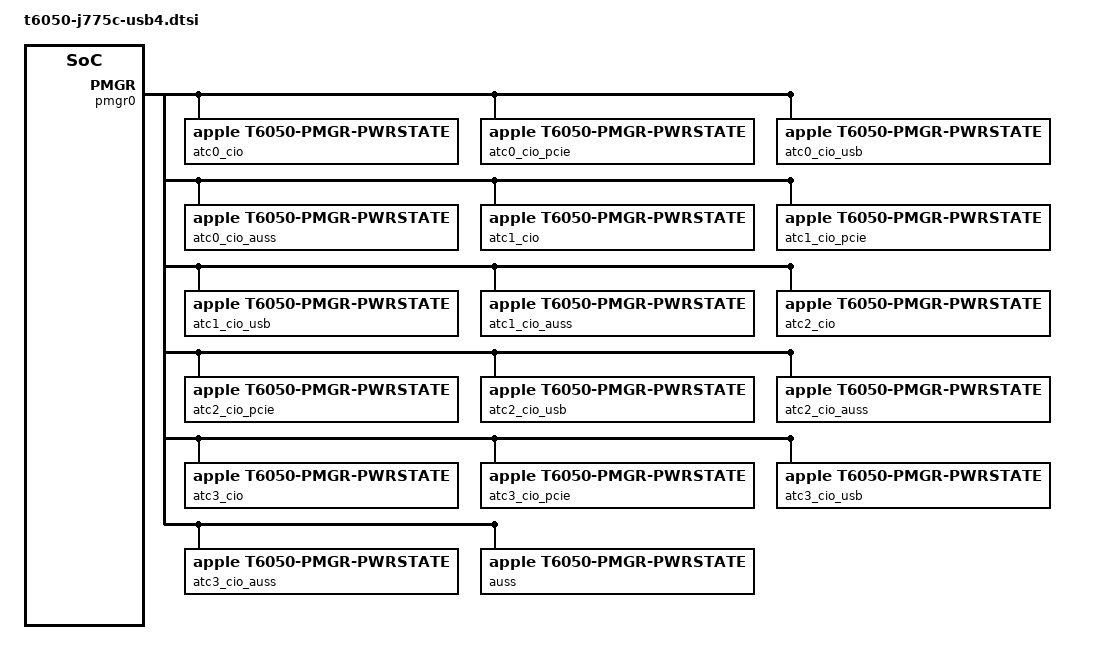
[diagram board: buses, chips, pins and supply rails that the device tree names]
/* J775c rear USB4 routers. Per-controller resources and tunables from J775c ADT. */


&{/aliases} {
	usb4-0-acio = &acio0;
	usb4-0-nhi = &acio0_nhi;
	usb4-1-acio = &acio1;
	usb4-1-nhi = &acio1_nhi;
	usb4-2-acio = &acio2;
	usb4-2-nhi = &acio2_nhi;
	usb4-3-acio = &acio3;
	usb4-3-nhi = &acio3_nhi;
};


&pmgr0 {

	ps_atc0_cio: power-controller@280 {
		compatible = "apple,t6050-pmgr-pwrstate", "apple,t8103-pmgr-pwrstate";
		reg = <0x280 4>;
		label = "atc0_cio";
		#power-domain-cells = <0>;
		#reset-cells = <0>;
		power-domains = <&ps_atc0_common>;
	};

	ps_atc0_cio_pcie: power-controller@338 {
		compatible = "apple,t6050-pmgr-pwrstate", "apple,t8103-pmgr-pwrstate";
		reg = <0x338 4>;
		label = "atc0_cio_pcie";
		#power-domain-cells = <0>;
		#reset-cells = <0>;
		power-domains = <&ps_atc0_cio>;
	};

	ps_atc0_cio_usb: power-controller@340 {
		compatible = "apple,t6050-pmgr-pwrstate", "apple,t8103-pmgr-pwrstate";
		reg = <0x340 4>;
		label = "atc0_cio_usb";
		#power-domain-cells = <0>;
		#reset-cells = <0>;
		power-domains = <&ps_atc0_cio>;
	};

	ps_atc0_cio_auss: power-controller@348 {
		compatible = "apple,t6050-pmgr-pwrstate", "apple,t8103-pmgr-pwrstate";
		reg = <0x348 4>;
		label = "atc0_cio_auss";
		#power-domain-cells = <0>;
		#reset-cells = <0>;
		power-domains = <&ps_atc0_cio>, <&ps_auss>;
	};

	ps_atc1_cio: power-controller@290 {
		compatible = "apple,t6050-pmgr-pwrstate", "apple,t8103-pmgr-pwrstate";
		reg = <0x290 4>;
		label = "atc1_cio";
		#power-domain-cells = <0>;
		#reset-cells = <0>;
		power-domains = <&ps_atc1_common>;
	};

	ps_atc1_cio_pcie: power-controller@350 {
		compatible = "apple,t6050-pmgr-pwrstate", "apple,t8103-pmgr-pwrstate";
		reg = <0x350 4>;
		label = "atc1_cio_pcie";
		#power-domain-cells = <0>;
		#reset-cells = <0>;
		power-domains = <&ps_atc1_cio>;
	};

	ps_atc1_cio_usb: power-controller@358 {
		compatible = "apple,t6050-pmgr-pwrstate", "apple,t8103-pmgr-pwrstate";
		reg = <0x358 4>;
		label = "atc1_cio_usb";
		#power-domain-cells = <0>;
		#reset-cells = <0>;
		power-domains = <&ps_atc1_cio>;
	};

	ps_atc1_cio_auss: power-controller@360 {
		compatible = "apple,t6050-pmgr-pwrstate", "apple,t8103-pmgr-pwrstate";
		reg = <0x360 4>;
		label = "atc1_cio_auss";
		#power-domain-cells = <0>;
		#reset-cells = <0>;
		power-domains = <&ps_atc1_cio>, <&ps_auss>;
	};

	ps_atc2_cio: power-controller@2e8 {
		compatible = "apple,t6050-pmgr-pwrstate", "apple,t8103-pmgr-pwrstate";
		reg = <0x2e8 4>;
		label = "atc2_cio";
		#power-domain-cells = <0>;
		#reset-cells = <0>;
		power-domains = <&ps_atc2_common>;
	};

	ps_atc2_cio_pcie: power-controller@3f8 {
		compatible = "apple,t6050-pmgr-pwrstate", "apple,t8103-pmgr-pwrstate";
		reg = <0x3f8 4>;
		label = "atc2_cio_pcie";
		#power-domain-cells = <0>;
		#reset-cells = <0>;
		power-domains = <&ps_atc2_cio>;
	};

	ps_atc2_cio_usb: power-controller@400 {
		compatible = "apple,t6050-pmgr-pwrstate", "apple,t8103-pmgr-pwrstate";
		reg = <0x400 4>;
		label = "atc2_cio_usb";
		#power-domain-cells = <0>;
		#reset-cells = <0>;
		power-domains = <&ps_atc2_cio>;
	};

	ps_atc2_cio_auss: power-controller@408 {
		compatible = "apple,t6050-pmgr-pwrstate", "apple,t8103-pmgr-pwrstate";
		reg = <0x408 4>;
		label = "atc2_cio_auss";
		#power-domain-cells = <0>;
		#reset-cells = <0>;
		power-domains = <&ps_atc2_cio>, <&ps_auss>;
	};

	ps_atc3_cio: power-controller@2f8 {
		compatible = "apple,t6050-pmgr-pwrstate", "apple,t8103-pmgr-pwrstate";
		reg = <0x2f8 4>;
		label = "atc3_cio";
		#power-domain-cells = <0>;
		#reset-cells = <0>;
		power-domains = <&ps_atc3_common>;
	};

	ps_atc3_cio_pcie: power-controller@410 {
		compatible = "apple,t6050-pmgr-pwrstate", "apple,t8103-pmgr-pwrstate";
		reg = <0x410 4>;
		label = "atc3_cio_pcie";
		#power-domain-cells = <0>;
		#reset-cells = <0>;
		power-domains = <&ps_atc3_cio>;
	};

	ps_atc3_cio_usb: power-controller@418 {
		compatible = "apple,t6050-pmgr-pwrstate", "apple,t8103-pmgr-pwrstate";
		reg = <0x418 4>;
		label = "atc3_cio_usb";
		#power-domain-cells = <0>;
		#reset-cells = <0>;
		power-domains = <&ps_atc3_cio>;
	};

	ps_atc3_cio_auss: power-controller@420 {
		compatible = "apple,t6050-pmgr-pwrstate", "apple,t8103-pmgr-pwrstate";
		reg = <0x420 4>;
		label = "atc3_cio_auss";
		#power-domain-cells = <0>;
		#reset-cells = <0>;
		power-domains = <&ps_atc3_cio>, <&ps_auss>;
	};

	ps_auss: power-controller@248 {
		compatible = "apple,t6050-pmgr-pwrstate", "apple,t8103-pmgr-pwrstate";
		reg = <0x248 4>;
		label = "auss";
		#power-domain-cells = <0>;
		#reset-cells = <0>;
		apple,always-on;
	};
};


&atc0_phy {
	apple,tunable-lane0-rx-top-cio = <0x35c 0xe00 0x200>;
	apple,tunable-lane1-rx-top-cio = <0x35c 0xe00 0x200>;
};


&atc1_phy {
	apple,tunable-lane0-rx-top-cio = <0x35c 0xe00 0x200>;
	apple,tunable-lane1-rx-top-cio = <0x35c 0xe00 0x200>;
};


&atc2_phy {
	apple,tunable-lane0-rx-top-cio = <0x35c 0xe00 0x200>;
	apple,tunable-lane1-rx-top-cio = <0x35c 0xe00 0x200>;
};


&atc3_phy {
	apple,tunable-lane0-rx-top-cio = <0x35c 0xe00 0x200>;
	apple,tunable-lane1-rx-top-cio = <0x35c 0xe00 0x200>;
};


&pinctrl_aop {
	/* Keep HDMI GPIO 14 available, and reserve every pin except CIO LSTX 77/79/81/83. */
	gpio-reserved-ranges = <0 14>, <15 62>, <78 1>, <80 1>, <82 1>, <84 1>;
	status = "okay";



	acio2_lstx_pins: acio2-lstx-pins {
		pinmux = <0x10051>;
	};


};


&hpm0 {
	connector {
		ports {
			port@3 {
				reg = <3>;
				hpm0_usb4: endpoint {
					remote-endpoint = <&acio0_tbt>;
				};
			};
		};
	};
};


&hpm1 {
	connector {
		ports {
			port@3 {
				reg = <3>;
				hpm1_usb4: endpoint {
					remote-endpoint = <&acio1_tbt>;
				};
			};
		};
	};
};


&hpm2 {
	connector {
		ports {
			port@3 {
				reg = <3>;
				hpm2_usb4: endpoint {
					remote-endpoint = <&acio2_tbt>;
				};
			};
		};
	};
};


&hpm3 {
	connector {
		ports {
			port@3 {
				reg = <3>;
				hpm3_usb4: endpoint {
					remote-endpoint = <&acio3_tbt>;
				};
			};
		};
	};
};


&{/soc@200000000} {
	cio_reconfig0: cio_reset: reset-controller@280620000 {
		compatible = "apple,t6050-cio-reset";
		reg = <0x2 0x80620000 0x0 0x4000>;
		#reset-cells = <1>;
	};





	acio2_mbox: mailbox@381108000 {
		compatible = "apple,t6050-asc-mailbox", "apple,asc-mailbox-v4";
		reg = <0x3 0x81108000 0x0 0x4000>;
		interrupts = <AIC_IRQ 0 857 IRQ_TYPE_LEVEL_HIGH>,
			     <AIC_IRQ 0 858 IRQ_TYPE_LEVEL_HIGH>,
			     <AIC_IRQ 0 859 IRQ_TYPE_LEVEL_HIGH>,
			     <AIC_IRQ 0 860 IRQ_TYPE_LEVEL_HIGH>;
		interrupt-names = "send-empty", "send-not-empty",
				  "recv-empty", "recv-not-empty";
		#mbox-cells = <0>;
	};

	acio2: acio@381ac0000 {
		compatible = "apple,t6050-usb4-acio";
		reg = <0x3 0x81ac0000 0x0 0xc000>,
		      <0x3 0x81080000 0x0 0x26000>,
		      <0x3 0x81e44000 0x0 0x4000>,
		      <0x3 0x81100000 0x0 0x4000>,
		      <0x3 0x81c80000 0x0 0x4000>;
		reg-names = "rc", "sram", "pcie-adapter", "cpu", "router-ap-fw";
		mboxes = <&acio2_mbox>;
		resets = <&cio_reset 2>;
		power-domains = <&ps_atc2_cio>, <&ps_atc2_cio_pcie>,
				<&ps_atc2_cio_usb>, <&ps_atc2_cio_auss>;
		thunderbolt-switch;
		pinctrl-0 = <&acio2_lstx_pins>;
		pinctrl-names = "lstx";
		lstx-gpios = <&pinctrl_aop 81 GPIO_ACTIVE_HIGH>;

		/* Stage 2 supplies apple,tunable-rc from this controller's ADT. */
		apple,tunable-pcie-adapter = <0x1008 0x6 0x6>;
		apple,tunable-router-ap-fw = <0x8 0xff2 0x482>;

		#address-cells = <1>;
		#size-cells = <1>;
		ranges = <0x0 0x3 0x81000000 0x1000000>;
		nonposted-mmio;


		acio2_dart: iommu@a80000 {
			compatible = "apple,t6050-dart", "apple,t8110-dart";
			reg = <0xa80000 0xc000>;
			interrupts = <AIC_IRQ 0 1670 IRQ_TYPE_LEVEL_HIGH>;
			power-domains = <&ps_atc2_cio>;
			#iommu-cells = <1>;
			apple,dma-range = <0x100 0x4000 0x0 0xffff0000>;
			apple,tunable = <0x20c 0x80000121 0x80000121>,
				<0x220 0xf0f 0xf0f>,
				<0x224 0xffff 0x909>,
				<0x300 0x1f31 0x1>,
				<0x308 0x3ffffffc 0x10000000>,
				<0x310 0x3ffffffc 0x3ffffffc>,
				<0x800 0xf003f 0x10000>,
				<0x804 0xf003f 0x10002>,
				<0x808 0xf003f 0x10004>,
				<0x80c 0xf003f 0x20006>,
				<0x810 0xf003f 0x2000a>,
				<0x814 0xf003f 0x2000e>,
				<0x818 0xf003f 0x20012>,
				<0x81c 0xf003f 0x20016>,
				<0x820 0xf003f 0x2001a>,
				<0x824 0xf003f 0x2001e>,
				<0x828 0xf003f 0x20022>,
				<0x82c 0xf003f 0x20026>,
				<0x830 0xf003f 0x2002a>,
				<0x834 0xf003f 0x2002e>,
				<0x838 0xf003f 0x20032>,
				<0x83c 0xf003f 0x10036>;
			apple,bypass-sids = <15>;
			apple,full-error-reporting;
			apple,ctc-flush;
		};


		acio2_nhi: nhi@f00000 {
			compatible = "apple,t6050-usb4-nhi";
			reg = <0xf00000 0x100000>;
			reg-names = "nhi";
			interrupts = <AIC_IRQ 0 1643 IRQ_TYPE_LEVEL_HIGH>,
					     <AIC_IRQ 0 1644 IRQ_TYPE_LEVEL_HIGH>,
					     <AIC_IRQ 0 1645 IRQ_TYPE_LEVEL_HIGH>,
					     <AIC_IRQ 0 1646 IRQ_TYPE_LEVEL_HIGH>,
					     <AIC_IRQ 0 1647 IRQ_TYPE_LEVEL_HIGH>,
					     <AIC_IRQ 0 1648 IRQ_TYPE_LEVEL_HIGH>,
					     <AIC_IRQ 0 1649 IRQ_TYPE_LEVEL_HIGH>,
					     <AIC_IRQ 0 1650 IRQ_TYPE_LEVEL_HIGH>,
					     <AIC_IRQ 0 1651 IRQ_TYPE_LEVEL_HIGH>,
					     <AIC_IRQ 0 1652 IRQ_TYPE_LEVEL_HIGH>,
					     <AIC_IRQ 0 1653 IRQ_TYPE_LEVEL_HIGH>,
					     <AIC_IRQ 0 1654 IRQ_TYPE_LEVEL_HIGH>,
					     <AIC_IRQ 0 1655 IRQ_TYPE_LEVEL_HIGH>,
					     <AIC_IRQ 0 1656 IRQ_TYPE_LEVEL_HIGH>,
					     <AIC_IRQ 0 1657 IRQ_TYPE_LEVEL_HIGH>,
					     <AIC_IRQ 0 1658 IRQ_TYPE_LEVEL_HIGH>,
					     <AIC_IRQ 0 1659 IRQ_TYPE_LEVEL_HIGH>,
					     <AIC_IRQ 0 1660 IRQ_TYPE_LEVEL_HIGH>,
					     <AIC_IRQ 0 1661 IRQ_TYPE_LEVEL_HIGH>,
					     <AIC_IRQ 0 1662 IRQ_TYPE_LEVEL_HIGH>,
					     <AIC_IRQ 0 1663 IRQ_TYPE_LEVEL_HIGH>,
					     <AIC_IRQ 0 1664 IRQ_TYPE_LEVEL_HIGH>,
					     <AIC_IRQ 0 1665 IRQ_TYPE_LEVEL_HIGH>,
					     <AIC_IRQ 0 1666 IRQ_TYPE_LEVEL_HIGH>,
					     <AIC_IRQ 0 1672 IRQ_TYPE_LEVEL_HIGH>;
			interrupt-names = "txring0", "txring1", "txring2", "txring3", "txring4", "txring5",
						  "txring6", "txring7", "txring8", "txring9", "txring10", "txring11",
						  "rxring0", "rxring1", "rxring2", "rxring3", "rxring4", "rxring5",
						  "rxring6", "rxring7", "rxring8", "rxring9", "rxring10", "rxring11",
						  "parity";
			iommus = <&acio2_dart 0>,
				 <&acio2_dart 1>,
				 <&acio2_dart 2>,
				 <&acio2_dart 3>,
				 <&acio2_dart 4>,
				 <&acio2_dart 5>,
				 <&acio2_dart 6>,
				 <&acio2_dart 7>,
				 <&acio2_dart 8>,
				 <&acio2_dart 9>,
				 <&acio2_dart 10>,
				 <&acio2_dart 11>,
				 <&acio2_dart 16>,
				 <&acio2_dart 17>,
				 <&acio2_dart 18>,
				 <&acio2_dart 19>,
				 <&acio2_dart 20>,
				 <&acio2_dart 21>,
				 <&acio2_dart 22>,
				 <&acio2_dart 23>,
				 <&acio2_dart 24>,
				 <&acio2_dart 25>,
				 <&acio2_dart 26>,
				 <&acio2_dart 27>;
			/* Stage 2 supplies apple,tunable-nhi from this controller's ADT. */
			apple,thunderbolt-drom = [fd 02 00 00 00 00 00 00 00 90 19 c3 8c 00 5c 00 00 00 00 00 00 00 08 81 82 02 82 00 00 00 08 82 92 01 82 00 00 00 03 83 20 08 84 00 00 00 00 00 00 08 85 00 00 00 00 00 00 05 86 09 01 00 08 87 00 00 00 00 00 00 05 88 09 01 00 05 89 09 01 00 05 8a 09 01 00 0e 01 41 70 70 6c 65 2c 20 49 6e 63 2e 00 06 02 69 4f 53 00 00 00 00];
		};

		ports {
			#address-cells = <1>;
			#size-cells = <0>;

			port@1 {
				reg = <1>;
				acio2_tbt: endpoint {
					remote-endpoint = <&hpm2_usb4>;
				};
			};
		};
	};



};

/* The inherited USB DARTs have no secure-monitor power-down operation in
 * Linux's direct T8110 backend. Do not cut their domain from pre-freezer
 * Type-C teardown or system PM. Router-only CIO domains remain cycleable.
 * Keeping USB also retains its AON/common suppliers for wake. This can be
 * relaxed only with a qualified DART ownership/power-down handoff. */
&ps_atc0_usb { apple,always-on; };
&ps_atc1_usb { apple,always-on; };
&ps_atc2_usb { apple,always-on; };
&ps_atc3_usb { apple,always-on; };
